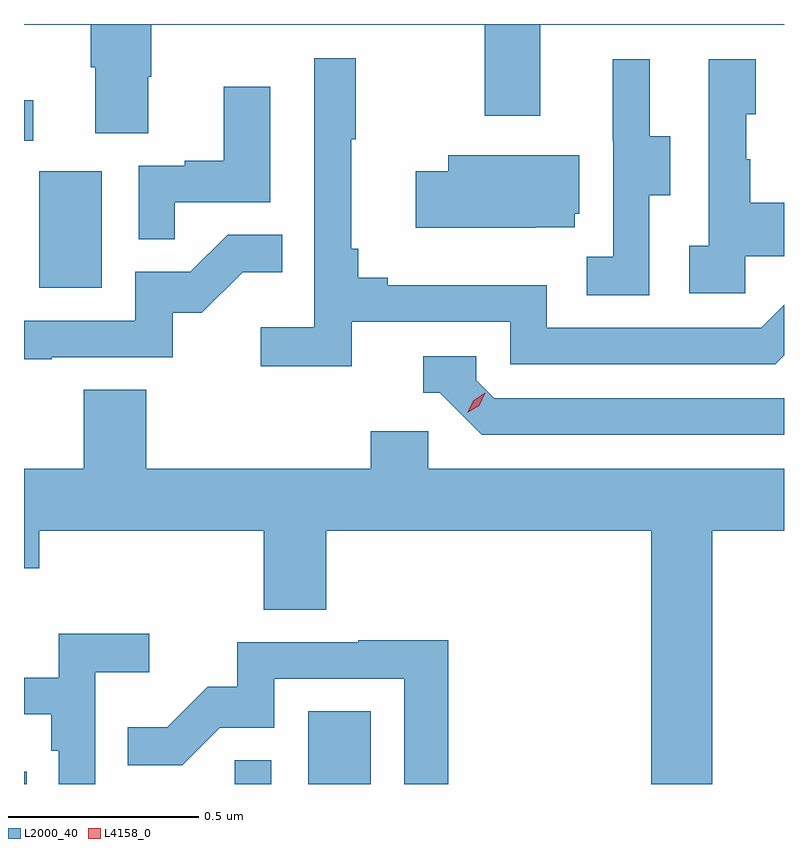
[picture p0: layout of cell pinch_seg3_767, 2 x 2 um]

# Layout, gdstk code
import gdstk
lib = gdstk.Library(unit=1e-6, precision=1e-09)
def R(c, l, rs):  # rectangles x0, y0, x1, y1
    for r in rs: c.add(gdstk.rectangle(r[:2], r[2:], *l))
def P(c, l, *ps):  # polygons
    for p in ps: c.add(gdstk.Polygon(p, *l))
L2000_40 = (2000, 40)
L4158_0 = (4158, 0)

pinch_seg3_767 = lib.new_cell('pinch_seg3_767')
R(pinch_seg3_767, L2000_40, [(844.378,737.546,844.385,737.578), (844.933,737.546,845.028,737.609), (845.126,737.546,845.29,737.737), (844.418,738.852,844.582,739.159), (844.378,739.239,844.402,739.345)])
P(pinch_seg3_767, L2000_40, [(844.705,739.407),(844.713,739.407),(844.713,739.544),(845.59,739.544),(845.59,739.305),(845.737,739.305),(845.737,739.544),(846.378,739.544),(846.378,739.546),(844.378,739.546),(844.378,739.544),(844.553,739.544),(844.553,739.432),(844.565,739.432),(844.565,739.258),(844.705,739.258)],
  [(845.24,738.762),(845.658,738.762),(845.658,738.651),(846.355,738.651),(846.378,738.674),(846.378,738.807),(846.318,738.747),(845.754,738.747),(845.754,738.859),(845.335,738.859),(845.335,738.878),(845.258,738.878),(845.258,738.955),(845.239,738.955),(845.239,739.243),(845.251,739.243),(845.251,739.456),(845.142,739.456),(845.142,738.748),(845.001,738.748),(845.001,738.646),(845.24,738.646)],
  [(846.024,739.096),(846.079,739.096),(846.079,739.251),(846.025,739.251),(846.025,739.453),(845.927,739.453),(845.927,739.239),(845.928,739.239),(845.928,738.933),(845.859,738.933),(845.859,738.832),(846.024,738.832)],
  [(846.276,738.935),(846.378,738.935),(846.378,739.075),(846.289,739.075),(846.289,739.19),(846.279,739.19),(846.279,739.308),(846.304,739.308),(846.304,739.453),(846.18,739.453),(846.18,738.962),(846.129,738.962),(846.129,738.837),(846.276,738.837)],
  [(844.775,739.077),(845.026,739.077),(845.026,739.381),(844.904,739.381),(844.904,739.186),(844.801,739.186),(844.801,739.173),(844.68,739.173),(844.68,738.979),(844.775,738.979)],
  [(845.723,739.011),(845.827,739.011),(845.827,739.047),(845.839,739.047),(845.839,739.201),(845.495,739.201),(845.495,739.158),(845.409,739.158),(845.409,739.01),(845.723,739.01)],
  [(844.451,738.669),(844.77,738.669),(844.77,738.786),(844.846,738.786),(844.953,738.893),(845.057,738.893),(845.057,738.992),(844.914,738.992),(844.816,738.894),(844.671,738.894),(844.671,738.765),(844.378,738.765),(844.378,738.664),(844.451,738.664)],
  [(846.378,738.561),(845.616,738.561),(845.568,738.609),(845.568,738.672),(845.429,738.672),(845.429,738.576),(845.472,738.576),(845.583,738.465),(846.378,738.465)],
  [(846.189,738.212),(846.378,738.212),(846.378,738.376),(845.442,738.376),(845.442,738.474),(845.291,738.474),(845.291,738.376),(844.7,738.376),(844.7,738.584),(844.535,738.584),(844.535,738.376),(844.378,738.376),(844.378,738.114),(844.418,738.114),(844.418,738.212),(845.009,738.212),(845.009,738.004),(845.174,738.004),(845.174,738.212),(846.029,738.212),(846.029,737.546),(846.189,737.546)],
  [(844.566,737.84),(844.708,737.84),(844.708,737.942),(844.469,737.942),(844.469,737.826),(844.378,737.826),(844.378,737.729),(844.45,737.729),(844.45,737.633),(844.47,737.633),(844.47,737.546),(844.566,737.546)],
  [(845.495,737.924),(845.257,737.924),(845.257,737.919),(844.939,737.919),(844.939,737.802),(844.862,737.802),(844.755,737.695),(844.651,737.695),(844.651,737.596),(844.795,737.596),(844.893,737.694),(845.037,737.694),(845.037,737.823),(845.379,737.823),(845.379,737.546),(845.495,737.546)])
P(pinch_seg3_767, L4158_0, [(845.544,738.523),(845.544,738.523),(845.561,738.556),(845.592,738.575),(845.592,738.575),(845.592,738.575),(845.576,738.542),(845.545,738.523)])

lib.write_gds('pinch_seg3_767.gds')
